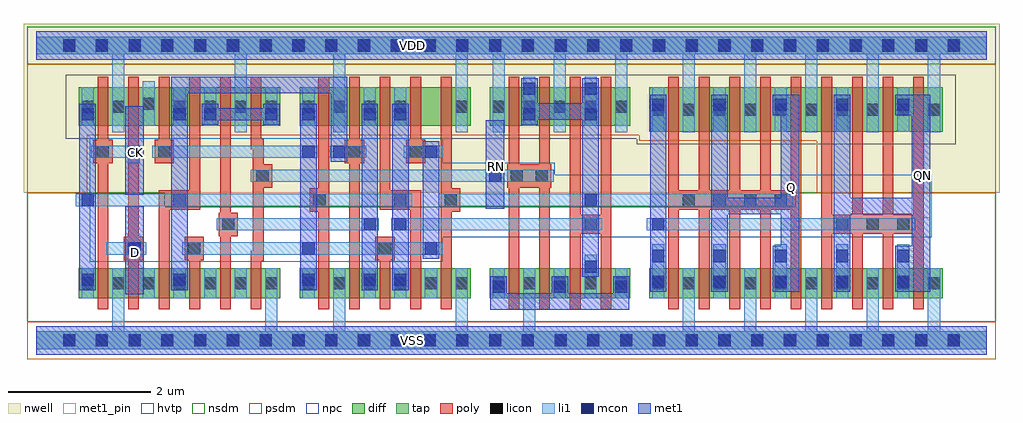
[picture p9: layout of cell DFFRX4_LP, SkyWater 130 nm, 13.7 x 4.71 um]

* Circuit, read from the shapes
.subckt DFFRX4_LP CK D Q QN RN VDD VSS
XM1 VSS CK n1 VSS sky130_fd_pr__nfet_01v8 w=0.42 l=0.15
XM2 n2 D VSS VSS sky130_fd_pr__nfet_01v8 w=0.42 l=0.15
XM3 n3 n1 n2 VSS sky130_fd_pr__nfet_01v8 w=0.42 l=0.15
XM4 n4 n5 n3 VSS sky130_fd_pr__nfet_01v8 w=0.42 l=0.15
XM5 n6 n7 n4 VSS sky130_fd_pr__nfet_01v8 w=0.42 l=0.15
XM6 VSS RN n6 VSS sky130_fd_pr__nfet_01v8 w=0.42 l=0.15
XM7 VSS n1 n5 VSS sky130_fd_pr__nfet_01v8 w=0.42 l=0.15
XM8 n7 n3 VSS VSS sky130_fd_pr__nfet_01v8 w=0.42 l=0.15
XM9 n8 n5 n7 VSS sky130_fd_pr__nfet_01v8 w=0.42 l=0.15
XM10 n9 n1 n8 VSS sky130_fd_pr__nfet_01v8 w=0.42 l=0.15
XM11 VSS n10 n9 VSS sky130_fd_pr__nfet_01v8 w=0.42 l=0.15
XM12 VSS RN n11 VSS sky130_fd_pr__nfet_01v8 w=0.42 l=0.15 m=2
XM13 n10 n8 n11 VSS sky130_fd_pr__nfet_01v8 w=0.42 l=0.15 m=2
XM14 VSS n10 n12 VSS sky130_fd_pr__nfet_01v8 w=0.42 l=0.15
XM15 Q n10 VSS VSS sky130_fd_pr__nfet_01v8 w=0.42 l=0.15 m=4
XM16 QN n12 VSS VSS sky130_fd_pr__nfet_01v8 w=0.42 l=0.15 m=4
XM17 VDD CK n1 VDD sky130_fd_pr__pfet_01v8_hvt w=0.54 l=0.15
XM18 n13 D VDD VDD sky130_fd_pr__pfet_01v8_hvt w=0.54 l=0.15
XM19 n3 n5 n13 VDD sky130_fd_pr__pfet_01v8_hvt w=0.54 l=0.15
XM20 n14 n1 n3 VDD sky130_fd_pr__pfet_01v8_hvt w=0.54 l=0.15
XM21 VDD n7 n14 VDD sky130_fd_pr__pfet_01v8_hvt w=0.54 l=0.15
XM22 n14 RN VDD VDD sky130_fd_pr__pfet_01v8_hvt w=0.54 l=0.15
XM23 VDD n1 n5 VDD sky130_fd_pr__pfet_01v8_hvt w=0.54 l=0.15
XM24 n7 n3 VDD VDD sky130_fd_pr__pfet_01v8_hvt w=0.54 l=0.15
XM25 n8 n1 n7 VDD sky130_fd_pr__pfet_01v8_hvt w=0.54 l=0.15
XM26 n15 n5 n8 VDD sky130_fd_pr__pfet_01v8_hvt w=0.54 l=0.15
XM27 VDD n10 n15 VDD sky130_fd_pr__pfet_01v8_hvt w=0.54 l=0.15
XM28 n10 RN VDD VDD sky130_fd_pr__pfet_01v8_hvt w=0.54 l=0.15 m=2
XM29 n10 n8 VDD VDD sky130_fd_pr__pfet_01v8_hvt w=0.54 l=0.15 m=2
XM30 VDD n10 n12 VDD sky130_fd_pr__pfet_01v8_hvt w=0.62 l=0.15
XM31 Q n10 VDD VDD sky130_fd_pr__pfet_01v8_hvt w=0.62 l=0.15 m=4
XM32 QN n12 VDD VDD sky130_fd_pr__pfet_01v8_hvt w=0.62 l=0.15 m=4
.ends

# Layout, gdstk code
from math import pi, radians
import gdstk
lib = gdstk.Library(unit=1e-6, precision=1e-09)
def R(c, l, rs):  # rectangles x0, y0, x1, y1
    for r in rs: c.add(gdstk.rectangle(r[:2], r[2:], *l))
def A(c, l, x, y, w, h, nx, ny, dx, dy):  # array of equal rectangles
    R(c, l, [(x+i*dx, y+j*dy, x+i*dx+w, y+j*dy+h) for i in range(nx) for j in range(ny)])
def P(c, l, *ps):  # polygons
    for p in ps: c.add(gdstk.Polygon(p, *l))
nwell = (64, 20)
diff = (65, 20)
tap = (65, 44)
poly = (66, 20)
licon = (66, 44)
li1 = (67, 20)
mcon = (67, 44)
met1_pin = (68, 16)
met1 = (68, 20)
hvtp = (78, 44)
nsdm = (93, 44)
psdm = (94, 20)
npc = (95, 20)

licondiff_c_cdns_7520169 = lib.new_cell('LICONDIFF_C_CDNS_752016907004')
R(licondiff_c_cdns_7520169, diff, [(-0.125,-0.145,0.125,0.145)])
R(licondiff_c_cdns_7520169, licon, [(-0.085,-0.085,0.085,0.085), (-0.085,-0.085,0.085,0.085)])

pyl1con_c_cdns_752016907 = lib.new_cell('PYL1CON_C_CDNS_752016907000')
R(pyl1con_c_cdns_752016907, poly, [(-0.135,-0.165,0.135,0.165)])
R(pyl1con_c_cdns_752016907, licon, [(-0.085,-0.085,0.085,0.085)])
R(pyl1con_c_cdns_752016907, npc, [(-0.185,-0.185,0.185,0.185)])

c_pyl1con_c_cdns_752016907 = lib.new_cell('PYL1CON_C_CDNS_7520169070012')
R(c_pyl1con_c_cdns_752016907, poly, [(-0.135,-0.29,0.135,0.29)])
R(c_pyl1con_c_cdns_752016907, licon, [(-0.085,-0.085,0.085,0.085)])
R(c_pyl1con_c_cdns_752016907, npc, [(-0.185,-0.185,0.185,0.185)])

l1m1_c_cdns_752016907001 = lib.new_cell('L1M1_C_CDNS_7520169070013')
R(l1m1_c_cdns_752016907001, li1, [(-0.165,-0.085,0.085,0.085)])
R(l1m1_c_cdns_752016907001, mcon, [(-0.085,-0.085,0.085,0.085)])
R(l1m1_c_cdns_752016907001, met1, [(-0.115,-0.145,0.115,0.145)])

c_l1m1_c_cdns_752016907001 = lib.new_cell('L1M1_C_CDNS_7520169070014')
R(c_l1m1_c_cdns_752016907001, li1, [(-0.125,-0.085,0.125,0.085)])
R(c_l1m1_c_cdns_752016907001, mcon, [(-0.085,-0.085,0.085,0.085)])
R(c_l1m1_c_cdns_752016907001, met1, [(-0.115,-0.145,0.115,0.145)])

c_l1m1_c_cdns_752016907001_ = lib.new_cell('L1M1_C_CDNS_752016907001')
R(c_l1m1_c_cdns_752016907001_, li1, [(-0.085,-0.165,0.085,0.165)])
R(c_l1m1_c_cdns_752016907001_, mcon, [(-0.085,-0.085,0.085,0.085)])
R(c_l1m1_c_cdns_752016907001_, met1, [(-0.115,-0.145,0.115,0.145)])

l1m1_c_cdns_752016907003 = lib.new_cell('L1M1_C_CDNS_752016907003')
R(l1m1_c_cdns_752016907003, li1, [(-0.165,-0.085,0.165,0.085)])
R(l1m1_c_cdns_752016907003, mcon, [(-0.085,-0.085,0.085,0.085)])
R(l1m1_c_cdns_752016907003, met1, [(-0.115,-0.145,0.115,0.145)])

l1m1_c_cdns_752016907002 = lib.new_cell('L1M1_C_CDNS_752016907002')
R(l1m1_c_cdns_752016907002, li1, [(-0.085,-0.345,0.085,0.345)])
R(l1m1_c_cdns_752016907002, mcon, [(-0.085,-0.265,0.085,-0.095), (-0.085,0.095,0.085,0.265)])
R(l1m1_c_cdns_752016907002, met1, [(-0.115,-0.325,0.115,0.325)])

dffrx4_lp = lib.new_cell('DFFRX4_LP')
R(dffrx4_lp, nwell, [(-0.18,2.07,13.52,4.445)])
R(dffrx4_lp, diff, [(0.595,0.59,3.425,1.01), (3.695,0.59,6.095,1.01), (6.365,0.59,8.335,1.01), (8.605,0.59,12.725,1.01), (8.605,2.93,12.725,3.55), (0.595,3.01,3.425,3.55), (3.695,3.01,6.095,3.55), (6.365,3.01,8.335,3.55)])
A(dffrx4_lp, poly, 8.87, 0.44, 0.15, 3.26, 9, 1, 0.43, 0)
R(dffrx4_lp, poly, [(0.86,0.44,1.01,3.7), (1.29,0.44,1.44,3.7), (2.15,0.44,2.3,1.16), (2.58,0.44,2.73,3.7), (3.96,0.44,4.11,3.7), (4.39,0.44,4.54,3.7), (4.82,0.44,4.97,1.16), (5.68,0.44,5.83,3.7), (7.49,0.44,7.64,3.7), (7.92,0.44,8.07,3.7), (1.72,2.65,1.87,3.7), (5.25,2.65,5.4,3.7)])
P(dffrx4_lp, poly, [(2.3,3.7),(2.15,3.7),(2.15,2.045),(1.72,2.045),(1.72,0.44),(1.87,0.44),(1.87,1.895),(2.3,1.895)],
  [(3.19,2.83),(3.16,2.83),(3.16,3.7),(3.01,3.7),(3.01,2.68),(3.04,2.68),(3.04,1.26),(3.01,1.26),(3.01,0.44),(3.16,0.44),(3.16,1.11),(3.19,1.11)],
  [(5.4,2.045),(4.97,2.045),(4.97,3.7),(4.82,3.7),(4.82,1.895),(5.25,1.895),(5.25,0.44),(5.4,0.44)],
  [(7.23,2.475),(7.21,2.475),(7.21,3.7),(7.06,3.7),(7.06,2.475),(6.78,2.475),(6.78,3.7),(6.63,3.7),(6.63,2.475),(6.61,2.475),(6.61,2.145),(6.63,2.145),(6.63,0.44),(6.78,0.44),(6.78,2.145),(7.06,2.145),(7.06,0.44),(7.21,0.44),(7.21,2.145),(7.23,2.145)])
A(dffrx4_lp, licon, 0.375, -0.085, 0.17, 0.17, 28, 2, 0.46, 4.14)
A(dffrx4_lp, licon, 1.925, 0.715, 0.17, 0.17, 4, 2, 0.43, 2.48)
A(dffrx4_lp, licon, 3.735, 0.715, 0.17, 0.17, 6, 1, 0.43, 0)
A(dffrx4_lp, licon, 6.405, 0.715, 0.17, 0.17, 5, 2, 0.43, 2.48)
A(dffrx4_lp, licon, 8.645, 0.715, 0.17, 0.17, 10, 2, 0.43, 2.44)
A(dffrx4_lp, licon, 3.735, 3.195, 0.17, 0.17, 4, 1, 0.43, 0)
R(dffrx4_lp, licon, [(0.635,0.715,0.805,0.885), (1.065,0.715,1.235,0.885), (0.635,3.195,0.805,3.365), (1.065,3.195,1.235,3.365), (5.885,3.195,6.055,3.365)])
A(dffrx4_lp, li1, 7.265, 0.59, 0.17, 0.42, 3, 1, 0.43, 0)
A(dffrx4_lp, li1, 8.645, 0.59, 0.17, 0.42, 5, 1, 0.86, 0)
A(dffrx4_lp, li1, 8.645, 2.93, 0.17, 0.62, 5, 1, 0.86, 0)
R(dffrx4_lp, li1, [(0.635,0.59,0.805,1.01), (1.925,0.59,2.095,1.01), (2.355,0.59,2.525,1.015), (2.785,0.59,2.955,1.015), (3.735,0.59,3.905,1.01), (4.595,0.59,4.765,1.01), (5.025,0.59,5.195,1.01), (5.455,0.59,5.625,1.015), (6.405,0.59,6.575,1.01), (0.635,3.01,0.805,3.55), (1.925,3.01,2.095,3.55), (2.355,3.01,2.525,3.55), (3.215,3.01,3.385,3.55), (3.735,3.01,3.905,3.55), (4.595,3.01,4.765,3.55), (5.025,3.01,5.195,3.55), (6.835,3.01,7.005,3.55), (7.695,3.01,7.865,3.55)])
P(dffrx4_lp, li1, [(1.455,2.65),(1.315,2.65),(1.315,2.735),(0.77,2.735),(0.77,2.565),(1.285,2.565),(1.285,2.485),(1.455,2.485)],
  [(13.34,4.265),(0,4.265),(0,4.015),(1.065,4.015),(1.065,2.925),(1.235,2.925),(1.235,4.015),(2.785,4.015),(2.785,2.925),(2.955,2.925),(2.955,4.015),(4.165,4.015),(4.165,2.925),(4.335,2.925),(4.335,4.015),(5.885,4.015),(5.885,2.925),(6.055,2.925),(6.055,4.015),(6.405,4.015),(6.405,2.925),(6.575,2.925),(6.575,4.015),(7.265,4.015),(7.265,2.925),(7.435,2.925),(7.435,4.015),(8.125,4.015),(8.125,2.925),(8.295,2.925),(8.295,4.015),(9.075,4.015),(9.075,2.925),(9.245,2.925),(9.245,4.015),(9.935,4.015),(9.935,2.925),(10.105,2.925),(10.105,4.015),(10.795,4.015),(10.795,2.925),(10.965,2.925),(10.965,4.015),(11.655,4.015),(11.655,2.925),(11.825,2.925),(11.825,4.015),(12.515,4.015),(12.515,2.925),(12.685,2.925),(12.685,4.015),(13.34,4.015)],
  [(13.34,0.125),(12.685,0.125),(12.685,1.01),(12.515,1.01),(12.515,0.125),(11.825,0.125),(11.825,1.01),(11.655,1.01),(11.655,0.125),(10.965,0.125),(10.965,1.01),(10.795,1.01),(10.795,0.125),(10.105,0.125),(10.105,1.01),(9.935,1.01),(9.935,0.125),(9.245,0.125),(9.245,1.01),(9.075,1.01),(9.075,0.125),(7.005,0.125),(7.005,1.01),(6.835,1.01),(6.835,0.125),(6.055,0.125),(6.055,1.01),(5.885,1.01),(5.885,0.125),(4.335,0.125),(4.335,1.01),(4.165,1.01),(4.165,0.125),(3.385,0.125),(3.385,1.01),(3.215,1.01),(3.215,0.125),(1.235,0.125),(1.235,1.01),(1.065,1.01),(1.065,0.125),(0,0.125),(0,-0.125),(13.34,-0.125)])
A(dffrx4_lp, mcon, 0.375, -0.085, 0.17, 0.17, 28, 2, 0.46, 4.14)
R(dffrx4_lp, met1_pin, [(1.25,0.645,1.51,1.885), (10.45,1.545,10.71,2.785), (12.29,1.725,12.55,2.965), (6.31,1.85,6.57,3.09), (1.25,2.045,1.51,3.285)])
R(dffrx4_lp, met1, [(0,3.94,13.34,4.34)])
P(dffrx4_lp, met1, [(10.71,3.45),(10.45,3.45),(10.45,2),(9.705,2),(9.705,3.45),(9.475,3.45),(9.475,0.68),(9.705,0.68),(9.705,1.77),(10.45,1.77),(10.45,0.68),(10.71,0.68)],
  [(12.55,3.45),(12.285,3.45),(12.285,3.16),(12.29,3.16),(12.29,2),(11.425,2),(11.425,3.45),(11.195,3.45),(11.195,0.68),(11.425,0.68),(11.425,1.77),(12.29,1.77),(12.29,1.33),(12.055,1.33),(12.055,0.68),(12.55,0.68)])
P(dffrx4_lp, hvtp, [(12.905,3.73),(0.415,3.73),(0.415,2.83),(8.425,2.83),(8.425,2.75),(12.905,2.75)])
R(dffrx4_lp, nsdm, [(-0.125,3.875,13.465,4.405)])
P(dffrx4_lp, nsdm, [(13.465,2.07),(10.655,2.07),(10.655,1.875),(1.805,1.875),(1.805,2.07),(-0.125,2.07),(-0.125,0.265),(13.465,0.265)])
R(dffrx4_lp, psdm, [(-0.125,-0.265,13.465,0.265)])
P(dffrx4_lp, psdm, [(13.465,3.875),(-0.125,3.875),(-0.125,2.07),(0.715,2.07),(0.715,2.88),(8.465,2.88),(8.465,2.8),(10.955,2.8),(10.955,2.07),(13.465,2.07)])
P(dffrx4_lp, npc, [(12.57,2.325),(7.28,2.325),(7.28,2.495),(5.705,2.495),(5.705,2.835),(0.75,2.835),(0.75,1.105),(5.705,1.105),(5.705,1.445),(12.57,1.445)])
dffrx4_lp.add(gdstk.FlexPath([(1.63,2.65),(3.945,2.65)], 0.17, ends="flush", simple_path=True, layer=67, datatype=20))  # li1
dffrx4_lp.add(gdstk.FlexPath([(5.16,2.65),(5.705,2.65)], 0.17, ends="flush", simple_path=True, layer=67, datatype=20))  # li1
dffrx4_lp.add(gdstk.FlexPath([(2.53,1.63),(4.805,1.63)], 0.17, ends="flush", simple_path=True, layer=67, datatype=20))  # li1
dffrx4_lp.add(gdstk.FlexPath([(4.985,1.63),(7.945,1.63)], 0.17, ends="flush", simple_path=True, layer=67, datatype=20))  # li1
dffrx4_lp.add(gdstk.FlexPath([(1.58,0.59),(1.58,1.015)], 0.17, ends="flush", simple_path=True, layer=67, datatype=20))  # li1
dffrx4_lp.add(gdstk.FlexPath([(1.58,3.01),(1.58,3.635)], 0.17, ends="flush", simple_path=True, layer=67, datatype=20))  # li1
dffrx4_lp.add(gdstk.FlexPath([(4.125,2.65),(4.63,2.65)], 0.17, ends="flush", simple_path=True, layer=67, datatype=20))  # li1
dffrx4_lp.add(gdstk.FlexPath([(2.05,1.29),(5.705,1.29)], 0.17, ends="flush", simple_path=True, layer=67, datatype=20))  # li1
dffrx4_lp.add(gdstk.FlexPath([(0.555,1.97),(5.275,1.97)], 0.17, ends="flush", simple_path=True, layer=67, datatype=20))  # li1
dffrx4_lp.add(gdstk.FlexPath([(7.26,2.31),(3.01,2.31)], 0.17, ends="flush", simple_path=True, layer=67, datatype=20))  # li1
dffrx4_lp.add(gdstk.FlexPath([(0.985,1.29),(1.53,1.29)], 0.17, ends="flush", simple_path=True, layer=67, datatype=20))  # li1
dffrx4_lp.add(gdstk.FlexPath([(5.65,1.97),(10.615,1.97)], 0.17, ends="flush", simple_path=True, layer=67, datatype=20))  # li1
dffrx4_lp.add(gdstk.FlexPath([(8.565,1.63),(12.335,1.63)], 0.17, ends="flush", simple_path=True, layer=67, datatype=20))  # li1
dffrx4_lp.add(gdstk.FlexPath([(0,4.14),(13.34,4.14)], 0.25, ends="flush", simple_path=True, layer=65, datatype=44))  # tap
dffrx4_lp.add(gdstk.FlexPath([(0,0),(13.34,0)], 0.25, ends="flush", simple_path=True, layer=65, datatype=44))  # tap
dffrx4_lp.add(gdstk.FlexPath([(0,0),(13.34,0)], 0.4, ends="flush", simple_path=True, layer=68, datatype=20))  # met1
dffrx4_lp.add(gdstk.FlexPath([(4.25,2.6),(4.25,3.585),(2.01,3.585),(2.01,0.8)], 0.23, ends="flush", simple_path=True, layer=68, datatype=20))  # met1
dffrx4_lp.add(gdstk.FlexPath([(6.805,3.215),(7.78,3.215),(7.78,0.89)], 0.23, ends="flush", simple_path=True, layer=68, datatype=20))  # met1
dffrx4_lp.add(gdstk.FlexPath([(5.54,1.145),(5.54,2.795)], 0.23, ends="flush", simple_path=True, layer=68, datatype=20))  # met1
dffrx4_lp.add(gdstk.FlexPath([(5.11,0.705),(5.11,3.235)], 0.23, ends="flush", simple_path=True, layer=68, datatype=20))  # met1
dffrx4_lp.add(gdstk.FlexPath([(3.82,0.705),(3.82,3.235)], 0.23, ends="flush", simple_path=True, layer=68, datatype=20))  # met1
dffrx4_lp.add(gdstk.FlexPath([(1.38,2.045),(1.38,3.285)], 0.26, ends="flush", simple_path=True, layer=68, datatype=20))  # met1
dffrx4_lp.add(gdstk.FlexPath([(6.44,1.85),(6.44,3.09)], 0.26, ends="flush", simple_path=True, layer=68, datatype=20))  # met1
dffrx4_lp.add(gdstk.FlexPath([(8.73,0.68),(8.73,3.45)], 0.23, ends="flush", simple_path=True, layer=68, datatype=20))  # met1
dffrx4_lp.add(gdstk.FlexPath([(2.325,3.175),(3.415,3.175)], 0.17, ends="flush", simple_path=True, layer=68, datatype=20))  # met1
dffrx4_lp.add(gdstk.FlexPath([(0.72,0.705),(0.72,3.235)], 0.23, ends="flush", simple_path=True, layer=68, datatype=20))  # met1
dffrx4_lp.add(gdstk.FlexPath([(1.38,0.645),(1.38,1.885)], 0.26, ends="flush", simple_path=True, layer=68, datatype=20))  # met1
dffrx4_lp.add(gdstk.FlexPath([(4.68,0.705),(4.68,3.235)], 0.23, ends="flush", simple_path=True, layer=68, datatype=20))  # met1
dffrx4_lp.add(gdstk.FlexPath([(6.375,0.545),(8.325,0.545)], 0.23, ends="flush", simple_path=True, layer=68, datatype=20))  # met1
dffrx4_lp.add(gdstk.FlexPath([(0,4.14),(13.34,4.14)], 0.4, ends="flush", simple_path=True, layer=68, datatype=16))  # met1_pin
dffrx4_lp.add(gdstk.FlexPath([(0,0),(13.34,0)], 0.4, ends="flush", simple_path=True, layer=68, datatype=16))  # met1_pin
dffrx4_lp.add(gdstk.Reference(licondiff_c_cdns_7520169, (2.87,0.8)))
dffrx4_lp.add(gdstk.Reference(licondiff_c_cdns_7520169, (2.44,0.8)))
dffrx4_lp.add(gdstk.Reference(licondiff_c_cdns_7520169, (1.58,0.8)))
dffrx4_lp.add(gdstk.Reference(licondiff_c_cdns_7520169, (1.58,3.32)))
dffrx4_lp.add(gdstk.Reference(licondiff_c_cdns_7520169, (5.54,0.8)))
dffrx4_lp.add(gdstk.Reference(pyl1con_c_cdns_752016907, (7.095,2.31), rotation=pi, x_reflection=True))
dffrx4_lp.add(gdstk.Reference(pyl1con_c_cdns_752016907, (4.465,2.65), rotation=pi))
dffrx4_lp.add(gdstk.Reference(pyl1con_c_cdns_752016907, (7.78,1.63), rotation=pi/2, x_reflection=True))
dffrx4_lp.add(gdstk.Reference(pyl1con_c_cdns_752016907, (6.745,2.31), rotation=pi, x_reflection=True))
dffrx4_lp.add(gdstk.Reference(pyl1con_c_cdns_752016907, (5.325,2.65), rotation=pi))
dffrx4_lp.add(gdstk.Reference(pyl1con_c_cdns_752016907, (1.795,2.65), rotation=pi))
dffrx4_lp.add(gdstk.Reference(pyl1con_c_cdns_752016907, (2.215,1.29), x_reflection=True))
dffrx4_lp.add(gdstk.Reference(pyl1con_c_cdns_752016907, (4.895,1.29), x_reflection=True))
dffrx4_lp.add(gdstk.Reference(pyl1con_c_cdns_752016907, (5.815,1.97), rotation=pi, x_reflection=True))
dffrx4_lp.add(gdstk.Reference(pyl1con_c_cdns_752016907, (3.975,1.97), rotation=pi, x_reflection=True))
dffrx4_lp.add(gdstk.Reference(pyl1con_c_cdns_752016907, (1.365,1.29), x_reflection=True))
dffrx4_lp.add(gdstk.Reference(pyl1con_c_cdns_752016907, (0.935,2.65), rotation=pi))
dffrx4_lp.add(gdstk.Reference(pyl1con_c_cdns_752016907, (3.175,2.31), x_reflection=True))
dffrx4_lp.add(gdstk.Reference(pyl1con_c_cdns_752016907, (2.695,1.63), rotation=pi))
dffrx4_lp.add(gdstk.Reference(pyl1con_c_cdns_752016907, (9.16,1.97), rotation=pi/2, x_reflection=True))
dffrx4_lp.add(gdstk.Reference(pyl1con_c_cdns_752016907, (10.02,1.97), rotation=pi/2, x_reflection=True))
dffrx4_lp.add(gdstk.Reference(pyl1con_c_cdns_752016907, (9.59,1.97), rotation=pi/2, x_reflection=True))
dffrx4_lp.add(gdstk.Reference(pyl1con_c_cdns_752016907, (10.45,1.97), rotation=pi/2, x_reflection=True))
dffrx4_lp.add(gdstk.Reference(pyl1con_c_cdns_752016907, (12.17,1.63), rotation=pi/2, x_reflection=True))
dffrx4_lp.add(gdstk.Reference(pyl1con_c_cdns_752016907, (11.74,1.63), rotation=pi/2, x_reflection=True))
dffrx4_lp.add(gdstk.Reference(pyl1con_c_cdns_752016907, (11.31,1.63), rotation=pi/2, x_reflection=True))
dffrx4_lp.add(gdstk.Reference(c_pyl1con_c_cdns_752016907, (5.11,1.97), rotation=pi/2))
dffrx4_lp.add(gdstk.Reference(c_pyl1con_c_cdns_752016907, (2.01,1.97), rotation=pi/2, x_reflection=True))
dffrx4_lp.add(gdstk.Reference(l1m1_c_cdns_752016907001, (1.37,2.65), x_reflection=True))
dffrx4_lp.add(gdstk.Reference(c_l1m1_c_cdns_752016907001, (4.25,2.65), rotation=pi, x_reflection=True))
dffrx4_lp.add(gdstk.Reference(c_l1m1_c_cdns_752016907001, (5.11,1.63), x_reflection=True))
dffrx4_lp.add(gdstk.Reference(c_l1m1_c_cdns_752016907001, (3.82,2.65), rotation=pi, x_reflection=True))
dffrx4_lp.add(gdstk.Reference(c_l1m1_c_cdns_752016907001, (4.68,1.63)))
dffrx4_lp.add(gdstk.Reference(c_l1m1_c_cdns_752016907001_, (2.01,0.85), rotation=pi, x_reflection=True))
dffrx4_lp.add(gdstk.Reference(c_l1m1_c_cdns_752016907001_, (2.01,3.175), rotation=pi, x_reflection=True))
dffrx4_lp.add(gdstk.Reference(c_l1m1_c_cdns_752016907001_, (5.11,3.175), rotation=pi, x_reflection=True))
dffrx4_lp.add(gdstk.Reference(c_l1m1_c_cdns_752016907001_, (5.11,0.85), rotation=pi, x_reflection=True))
dffrx4_lp.add(gdstk.Reference(c_l1m1_c_cdns_752016907001_, (4.68,3.175), rotation=pi, x_reflection=True))
dffrx4_lp.add(gdstk.Reference(c_l1m1_c_cdns_752016907001_, (4.68,0.85), rotation=pi, x_reflection=True))
dffrx4_lp.add(gdstk.Reference(c_l1m1_c_cdns_752016907001_, (3.82,3.175), rotation=pi, x_reflection=True))
dffrx4_lp.add(gdstk.Reference(c_l1m1_c_cdns_752016907001_, (3.82,0.85), rotation=pi, x_reflection=True))
dffrx4_lp.add(gdstk.Reference(c_l1m1_c_cdns_752016907001_, (3.3,3.175), rotation=pi, x_reflection=True))
dffrx4_lp.add(gdstk.Reference(c_l1m1_c_cdns_752016907001_, (0.72,0.85), rotation=pi, x_reflection=True))
dffrx4_lp.add(gdstk.Reference(c_l1m1_c_cdns_752016907001_, (0.72,3.175), rotation=pi, x_reflection=True))
dffrx4_lp.add(gdstk.Reference(c_l1m1_c_cdns_752016907001_, (7.78,1.035), rotation=pi, x_reflection=True))
dffrx4_lp.add(gdstk.Reference(c_l1m1_c_cdns_752016907001_, (8.73,3.305)))
dffrx4_lp.add(gdstk.Reference(c_l1m1_c_cdns_752016907001_, (9.59,3.305)))
dffrx4_lp.add(gdstk.Reference(c_l1m1_c_cdns_752016907001_, (10.45,3.305)))
dffrx4_lp.add(gdstk.Reference(c_l1m1_c_cdns_752016907001_, (12.17,3.305)))
dffrx4_lp.add(gdstk.Reference(c_l1m1_c_cdns_752016907001_, (11.31,3.305)))
dffrx4_lp.add(gdstk.Reference(c_l1m1_c_cdns_752016907001_, (2.44,3.175), rotation=pi, x_reflection=True))
dffrx4_lp.add(gdstk.Reference(c_l1m1_c_cdns_752016907001_, (7.35,0.755), rotation=pi, x_reflection=True))
dffrx4_lp.add(gdstk.Reference(c_l1m1_c_cdns_752016907001_, (6.49,0.755), rotation=pi, x_reflection=True))
dffrx4_lp.add(gdstk.Reference(c_l1m1_c_cdns_752016907001_, (8.21,0.755), rotation=pi, x_reflection=True))
dffrx4_lp.add(gdstk.Reference(l1m1_c_cdns_752016907003, (5.54,2.65)))
dffrx4_lp.add(gdstk.Reference(l1m1_c_cdns_752016907003, (5.54,1.29)))
dffrx4_lp.add(gdstk.Reference(l1m1_c_cdns_752016907003, (3.82,1.29)))
dffrx4_lp.add(gdstk.Reference(l1m1_c_cdns_752016907003, (7.78,1.97), rotation=pi, x_reflection=True))
dffrx4_lp.add(gdstk.Reference(l1m1_c_cdns_752016907003, (1.38,1.29), x_reflection=True))
dffrx4_lp.add(gdstk.Reference(l1m1_c_cdns_752016907003, (0.72,1.97), rotation=pi, x_reflection=True))
dffrx4_lp.add(gdstk.Reference(l1m1_c_cdns_752016907003, (6.44,2.31), x_reflection=True))
dffrx4_lp.add(gdstk.Reference(l1m1_c_cdns_752016907003, (8.73,1.63), x_reflection=True))
dffrx4_lp.add(gdstk.Reference(l1m1_c_cdns_752016907002, (6.92,3.355), rotation=pi, x_reflection=True))
dffrx4_lp.add(gdstk.Reference(l1m1_c_cdns_752016907002, (7.78,3.355), rotation=pi, x_reflection=True))
dffrx4_lp.add(gdstk.Reference(l1m1_c_cdns_752016907002, (8.73,1.005)))
dffrx4_lp.add(gdstk.Reference(l1m1_c_cdns_752016907002, (9.59,1.005)))
dffrx4_lp.add(gdstk.Reference(l1m1_c_cdns_752016907002, (10.45,1.005)))
dffrx4_lp.add(gdstk.Reference(l1m1_c_cdns_752016907002, (12.17,1.005)))
dffrx4_lp.add(gdstk.Reference(l1m1_c_cdns_752016907002, (11.31,1.005)))
dffrx4_lp.add(gdstk.Label('CK', (1.395,2.64), layer=68, texttype=5))
dffrx4_lp.add(gdstk.Label('QN', (12.435,2.32), layer=68, texttype=5))
dffrx4_lp.add(gdstk.Label('Q', (10.595,2.14), layer=68, texttype=5))
dffrx4_lp.add(gdstk.Label('RN', (6.455,2.445), layer=68, texttype=5))
dffrx4_lp.add(gdstk.Label('D', (1.395,1.24), layer=68, texttype=5))
dffrx4_lp.add(gdstk.Label('VDD', (5.285,4.145), layer=68, texttype=5))
dffrx4_lp.add(gdstk.Label('VSS', (5.285,0.005), layer=68, texttype=5))

lib.write_gds('DFFRX4_LP.gds')
